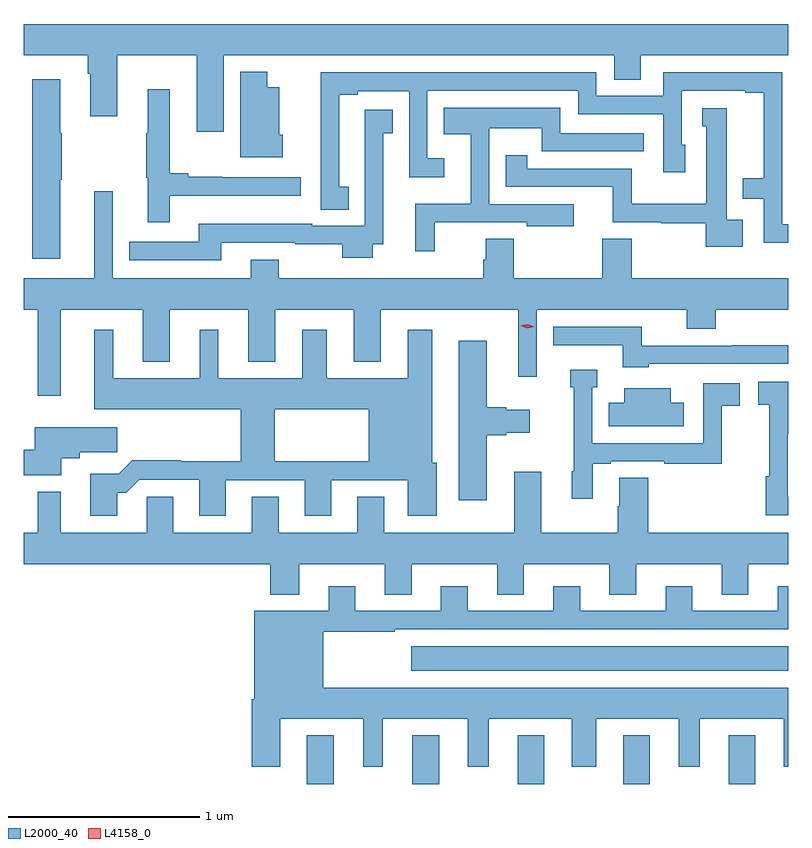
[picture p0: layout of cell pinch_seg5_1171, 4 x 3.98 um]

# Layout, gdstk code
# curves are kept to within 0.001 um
import gdstk
lib = gdstk.Library(unit=1e-6, precision=1e-09)
def R(c, l, rs):  # rectangles x0, y0, x1, y1
    for r in rs: c.add(gdstk.rectangle(r[:2], r[2:], *l))
def A(c, l, x, y, w, h, nx, ny, dx, dy):  # array of equal rectangles
    R(c, l, [(x+i*dx, y+j*dy, x+i*dx+w, y+j*dy+h) for i in range(nx) for j in range(ny)])
def P(c, l, *ps):  # polygons
    for p in ps: c.add(gdstk.Polygon(p, *l))
L2000_40 = (2000, 40)
L4158_0 = (4158, 0)

pinch_seg5_1171 = lib.new_cell('pinch_seg5_1171')
A(pinch_seg5_1171, L2000_40, 544.187, 876.921, 0.14, 0.256, 5, 1, 0.552, 0)
R(pinch_seg5_1171, L2000_40, [(544.734,877.514,546.706,877.642)])
P(pinch_seg5_1171, L2000_40, [(542.706,880.736),(543.041,880.736),(543.041,880.64),(543.053,880.64),(543.053,880.416),(543.193,880.416),(543.193,880.736),(543.611,880.736),(543.611,880.335),(543.751,880.335),(543.751,880.736),(545.795,880.736),(545.795,880.609),(545.935,880.609),(545.935,880.736),(546.706,880.736),(546.706,880.9),(542.706,880.9)],
  [(544.06,880.32),(544.042,880.32),(544.042,880.57),(543.979,880.57),(543.979,880.651),(543.839,880.651),(543.839,880.202),(544.06,880.202)],
  [(546.706,879.852),(546.675,879.852),(546.675,880.647),(546.054,880.647),(546.054,880.524),(545.703,880.524),(545.703,880.647),(544.715,880.647),(544.715,880.648),(544.259,880.648),(544.259,880.195),(544.26,880.195),(544.26,879.928),(544.406,879.928),(544.406,880.047),(544.357,880.047),(544.357,880.53),(544.453,880.53),(544.453,880.547),(544.722,880.547),(544.722,880.097),(544.906,880.097),(544.906,880.198),(544.818,880.198),(544.818,880.551),(545.607,880.551),(545.607,880.428),(546.054,880.428),(546.054,880.125),(546.169,880.125),(546.169,880.269),(546.15,880.269),(546.15,880.551),(546.482,880.551),(546.482,880.539),(546.578,880.539),(546.578,880.093),(546.47,880.093),(546.47,879.984),(546.579,879.984),(546.579,879.756),(546.706,879.756)],
  [(542.896,880.084),(542.904,880.084),(542.904,880.328),(542.896,880.328),(542.896,880.612),(542.75,880.612),(542.75,879.672),(542.896,879.672)],
  [(543.469,880.001),(544.156,880.001),(544.156,880.098),(543.743,880.098),(543.743,880.101),(543.565,880.101),(543.565,880.118),(543.469,880.118),(543.469,880.558),(543.353,880.558),(543.353,880.328),(543.346,880.328),(543.346,880.095),(543.353,880.095),(543.353,879.861),(543.469,879.861)],
  [(544.856,879.861),(545.339,879.861),(545.339,879.842),(545.584,879.842),(545.584,879.957),(545.142,879.957),(545.142,880.355),(545.418,880.355),(545.418,880.234),(545.521,880.234),(545.521,880.233),(545.95,880.233),(545.95,880.329),(545.514,880.329),(545.514,880.462),(544.903,880.462),(544.903,880.322),(545.045,880.322),(545.045,879.958),(544.754,879.958),(544.754,879.711),(544.856,879.711)],
  [(546.469,879.874),(546.384,879.874),(546.384,879.97),(546.385,879.97),(546.385,880.458),(546.257,880.458),(546.257,880.365),(546.278,880.365),(546.278,879.958),(545.887,879.958),(545.887,880.143),(545.34,880.143),(545.34,880.213),(545.227,880.213),(545.227,880.047),(545.789,880.047),(545.789,879.861),(546.042,879.861),(546.042,879.856),(546.276,879.856),(546.276,879.734),(546.469,879.734)],
  [(543.739,879.756),(544.125,879.756),(544.125,879.746),(544.372,879.746),(544.372,879.677),(544.531,879.677),(544.531,879.747),(544.588,879.747),(544.588,880.329),(544.637,880.329),(544.637,880.45),(544.49,880.45),(544.49,880.126),(544.491,880.126),(544.491,879.843),(544.215,879.843),(544.215,879.853),(543.62,879.853),(543.62,879.759),(543.256,879.759),(543.256,879.663),(543.739,879.663)],
  [(542.899,879.404),(543.329,879.404),(543.329,879.131),(543.469,879.131),(543.469,879.404),(543.881,879.404),(543.881,879.131),(544.021,879.131),(544.021,879.404),(544.433,879.404),(544.433,879.131),(544.573,879.131),(544.573,879.404),(545.294,879.404),(545.294,879.054),(545.391,879.054),(545.391,879.404),(546.176,879.404),(546.176,879.305),(546.329,879.305),(546.329,879.404),(546.706,879.404),(546.706,879.568),(545.889,879.568),(545.889,879.776),(545.734,879.776),(545.734,879.568),(545.271,879.568),(545.271,879.776),(545.123,879.776),(545.123,879.666),(545.111,879.666),(545.111,879.568),(544.041,879.568),(544.041,879.667),(543.893,879.667),(543.893,879.568),(543.171,879.568),(543.171,880.024),(543.074,880.024),(543.074,879.568),(542.706,879.568),(542.706,879.404),(542.778,879.404),(542.778,878.955),(542.899,878.955)],
  [(545.976,879.12),(546.706,879.12),(546.706,879.218),(546.412,879.218),(546.412,879.216),(545.94,879.216),(545.94,879.315),(545.476,879.315),(545.476,879.219),(545.84,879.219),(545.84,879.104),(545.976,879.104)],
  [(543.527,878.615),(543.272,878.615),(543.202,878.545),(543.053,878.545),(543.053,878.325),(543.193,878.325),(543.193,878.447),(543.242,878.447),(543.309,878.514),(543.623,878.514),(543.623,878.325),(543.763,878.325),(543.763,878.511),(544.175,878.511),(544.175,878.325),(544.315,878.325),(544.315,878.511),(544.715,878.511),(544.715,878.325),(544.867,878.325),(544.867,878.604),(544.843,878.604),(544.843,879.298),(544.715,879.298),(544.715,879.046),(544.291,879.046),(544.291,879.298),(544.163,879.298),(544.163,879.046),(543.724,879.046),(543.724,879.298),(543.626,879.298),(543.626,879.046),(543.172,879.046),(543.172,879.298),(543.074,879.298),(543.074,878.882),(543.842,878.882),(543.842,878.612),(544.02,878.612),(544.02,878.882),(544.511,878.882),(544.511,878.612),(543.527,878.612)],
  [(545.128,878.747),(545.232,878.747),(545.232,878.759),(545.353,878.759),(545.353,878.881),(545.232,878.881),(545.232,878.894),(545.128,878.894),(545.128,879.241),(544.982,879.241),(544.982,878.406),(545.128,878.406)],
  [(545.683,878.598),(545.779,878.598),(545.779,878.61),(546.058,878.61),(546.058,878.598),(546.36,878.598),(546.36,878.902),(546.454,878.902),(546.454,879.018),(546.261,879.018),(546.261,878.706),(545.682,878.706),(545.682,878.997),(545.707,878.997),(545.707,879.091),(545.567,879.091),(545.567,878.997),(545.584,878.997),(545.584,878.559),(545.573,878.559),(545.573,878.415),(545.683,878.415)],
  [(546.706,878.424),(546.705,878.424),(546.705,878.752),(546.706,878.752),(546.706,879.028),(546.549,879.028),(546.549,878.907),(546.607,878.907),(546.607,878.531),(546.589,878.531),(546.589,878.328),(546.706,878.328)],
  [(546.16,878.917),(546.091,878.917),(546.091,878.992),(545.849,878.992),(545.849,878.917),(545.767,878.917),(545.767,878.795),(546.16,878.795)],
  [(542.902,878.627),(542.998,878.627),(542.998,878.659),(543.193,878.659),(543.193,878.788),(542.762,878.788),(542.762,878.672),(542.706,878.672),(542.706,878.537),(542.902,878.537)],
  [(543.995,877.913),(544.147,877.913),(544.147,878.072),(544.595,878.072),(544.595,877.912),(544.735,877.912),(544.735,878.072),(545.183,878.072),(545.183,877.912),(545.323,877.912),(545.323,878.072),(545.771,878.072),(545.771,877.912),(545.911,877.912),(545.911,878.072),(546.359,878.072),(546.359,877.912),(546.499,877.912),(546.499,878.072),(546.706,878.072),(546.706,878.236),(545.975,878.236),(545.975,878.525),(545.822,878.525),(545.822,878.375),(545.815,878.375),(545.815,878.236),(545.413,878.236),(545.413,878.557),(545.273,878.557),(545.273,878.236),(544.591,878.236),(544.591,878.426),(544.451,878.426),(544.451,878.236),(544.039,878.236),(544.039,878.426),(543.899,878.426),(543.899,878.236),(543.487,878.236),(543.487,878.426),(543.348,878.426),(543.348,878.236),(542.899,878.236),(542.899,878.452),(542.778,878.452),(542.778,878.236),(542.706,878.236),(542.706,878.072),(543.995,878.072)],
  [(544.048,877.262),(544.481,877.262),(544.481,877.011),(544.585,877.011),(544.585,877.262),(545.03,877.262),(545.03,877.011),(545.14,877.011),(545.14,877.262),(545.573,877.262),(545.573,877.011),(545.701,877.011),(545.701,877.262),(546.134,877.262),(546.134,877.011),(546.244,877.011),(546.244,877.262),(546.683,877.262),(546.683,877.011),(546.706,877.011),(546.706,877.426),(544.273,877.426),(544.273,877.719),(544.646,877.719),(544.646,877.731),(546.706,877.731),(546.706,877.957),(546.653,877.957),(546.653,877.827),(546.205,877.827),(546.205,877.957),(546.065,877.957),(546.065,877.827),(545.617,877.827),(545.617,877.957),(545.477,877.957),(545.477,877.827),(545.029,877.827),(545.029,877.957),(544.889,877.957),(544.889,877.827),(544.441,877.827),(544.441,877.957),(544.301,877.957),(544.301,877.828),(543.911,877.828),(543.911,877.366),(543.899,877.366),(543.899,877.011),(544.048,877.011)])
P(pinch_seg5_1171, L4158_0, [(545.341,879.307),(545.306,879.319),(545.306,879.319),(545.306,879.319),(545.342,879.327),(545.378,879.316),(545.378,879.316),(545.378,879.316)])

lib.write_gds('pinch_seg5_1171.gds')
